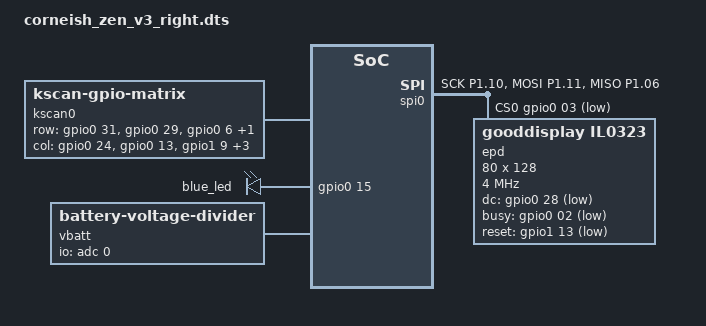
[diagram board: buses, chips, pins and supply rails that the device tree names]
/*
*
* Copyright (c) 2021 Darryl deHaan
* SPDX-License-Identifier: MIT
*
*/

#include "corneish_zen.dtsi"

/{
    chosen {
        zephyr,display = &epd;
        zmk,battery = &vbatt;
    };

    kscan0: kscan {
        compatible = "zmk,kscan-gpio-matrix";
        wakeup-source;

        diode-direction = "col2row";
        row-gpios
            = <&gpio0 31 (GPIO_ACTIVE_HIGH | GPIO_PULL_DOWN)>
            , <&gpio0 29 (GPIO_ACTIVE_HIGH | GPIO_PULL_DOWN)>
            , <&gpio0  6 (GPIO_ACTIVE_HIGH | GPIO_PULL_DOWN)>
            , <&gpio0 10 (GPIO_ACTIVE_HIGH | GPIO_PULL_DOWN)>
            ;

        col-gpios
            = <&gpio0 24 GPIO_ACTIVE_HIGH>
            , <&gpio0 13 GPIO_ACTIVE_HIGH>
            , <&gpio1  9 GPIO_ACTIVE_HIGH>
            , <&gpio0  5 GPIO_ACTIVE_HIGH>
            , <&gpio0 17 GPIO_ACTIVE_HIGH>
            , <&gpio0  9 GPIO_ACTIVE_HIGH>
            ;
    };

    leds {
        compatible = "gpio-leds";
        blue_led: led_0 {
            gpios = <&gpio0 15 GPIO_ACTIVE_HIGH>;
        };
    };

    vbatt: vbatt {
        compatible = "zmk,battery-voltage-divider";
        io-channels = <&adc 0>;
        output-ohms = <3000000>;
        full-ohms = <(3000000 + 1000000)>;
    };
};

&default_transform {
    col-offset = <6>;
};

&five_column_transform {
    col-offset = <6>;
};

&pinctrl {
    spi0_default: spi0_default {
        group1 {
            psels = <NRF_PSEL(SPIM_SCK, 1, 10)>,
                <NRF_PSEL(SPIM_MOSI, 1, 11)>,
                <NRF_PSEL(SPIM_MISO, 1, 06)>;
        };
    };

    spi0_sleep: spi0_sleep {
        group1 {
            psels = <NRF_PSEL(SPIM_SCK, 1, 10)>,
                <NRF_PSEL(SPIM_MOSI, 1, 11)>,
                <NRF_PSEL(SPIM_MISO, 1, 06)>;
            low-power-enable;
        };
    };
};

&spi0 {
    status = "okay";
    compatible = "nordic,nrf-spim";
    pinctrl-0 = <&spi0_default>;
    pinctrl-1 = <&spi0_sleep>;
    pinctrl-names = "default", "sleep";
    cs-gpios = <&gpio0 03 GPIO_ACTIVE_LOW>;

    epd: il0323@0 {
        compatible = "gooddisplay,il0323";
        reg =  <0>;
        width = <80>;
        height = <128>;
        spi-max-frequency = <4000000>;
        dc-gpios = <&gpio0 28 GPIO_ACTIVE_LOW>;
        busy-gpios = <&gpio0 02 GPIO_ACTIVE_LOW>;
        reset-gpios = <&gpio1 13 GPIO_ACTIVE_LOW>;
        pwr = [03 00 26 26];
        cdi = <0xd2>;
        tcon = <0x22>;
    };
};
